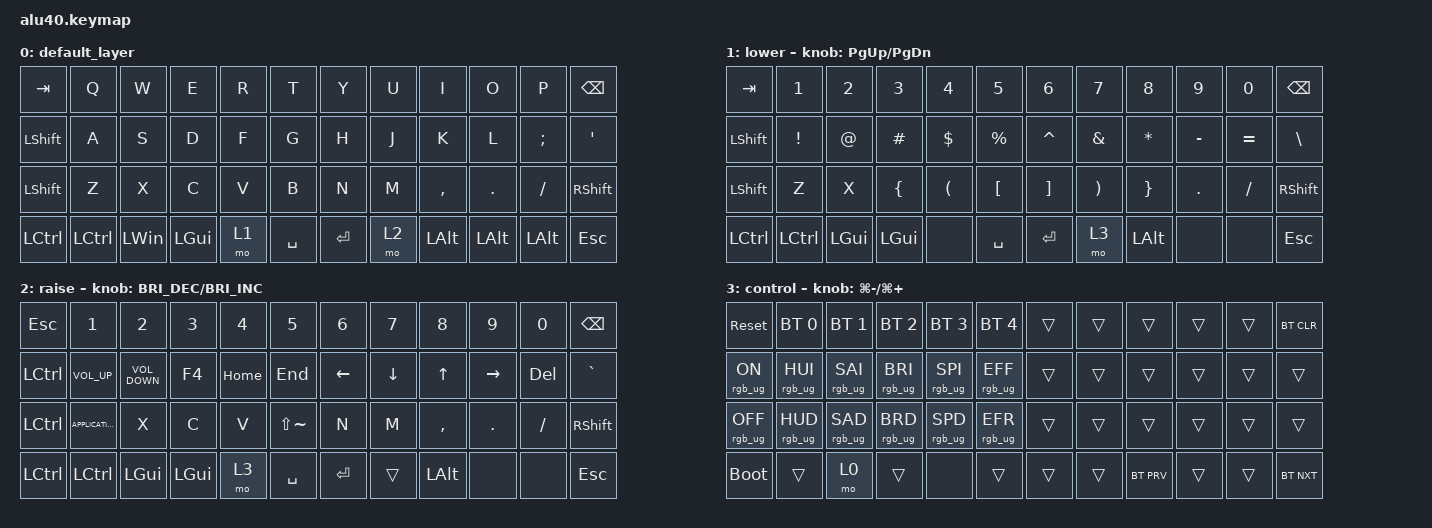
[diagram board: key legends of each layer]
/*
 * Copyright (c) 2022 The ZMK Contributors
 *
 * SPDX-License-Identifier: MIT
 */

#include <behaviors.dtsi>
#include <dt-bindings/zmk/bt.h>
#include <dt-bindings/zmk/keys.h>
#include <dt-bindings/zmk/rgb.h>

/ {
    keymap {
        compatible = "zmk,keymap";

        default_layer {
            // -----------------------------------------------------------------------------------------
            // | ESC/~ |  Q   |  W   |  E   |  R   |  T   |   Y   |  U    |  I   |  O   |   P   | BSPC  |
            // | TAB   |  A   |  S   |  D   |  F   |  G   |   H   |  J    |  K   |  L   |   ;   |  '    |
            // | SHIFT |  Z   |  X   |  C   |  V   |  B   |   N   |  M    |  ,   |  .   |   /   |RET/SFT|
            // | PLAY  | LCTL | LALT | LGUI | LOWR |     SPACE    |  RAIS | LARW | UARW | DARW  |  RARW |

            bindings = <
&kp TAB         &kp Q      &kp W         &kp E     &kp R  &kp T      &kp Y       &kp U  &kp I         &kp O         &kp P         &kp BSPC
&kp LEFT_SHIFT  &kp A      &kp S         &kp D     &kp F  &kp G      &kp H       &kp J  &kp K         &kp L         &kp SEMI      &kp SQT
&kp LSHFT       &kp Z      &kp X         &kp C     &kp V  &kp B      &kp N       &kp M  &kp COMMA     &kp DOT       &kp FSLH      &kp RIGHT_SHIFT
&kp LCTRL       &kp LCTRL  &kp LEFT_WIN  &kp LGUI  &mo 1  &kp SPACE  &kp RETURN  &mo 2  &kp LEFT_ALT  &kp LEFT_ALT  &kp LEFT_ALT  &kp ESC
            >;
        };

        lower {
            bindings = <
&kp TAB           &kp N1            &kp N2        &kp N3          &kp N4                &kp N5            &kp N6             &kp N7                 &kp N8           &kp N9      &kp N0     &kp BACKSPACE
&kp LSHFT         &kp EXCL          &kp AT        &kp HASH        &kp DLLR              &kp PERCENT       &kp CARET          &kp AMPERSAND          &kp ASTERISK     &kp MINUS   &kp EQUAL  &kp BACKSLASH
&kp LSHFT         &kp Z             &kp X         &kp LEFT_BRACE  &kp LEFT_PARENTHESIS  &kp LEFT_BRACKET  &kp RIGHT_BRACKET  &kp RIGHT_PARENTHESIS  &kp RIGHT_BRACE  &kp PERIOD  &kp SLASH  &kp RIGHT_SHIFT
&kp LEFT_CONTROL  &kp LEFT_CONTROL  &kp LEFT_GUI  &kp LEFT_GUI    &none                 &kp SPACE         &kp RETURN         &mo 3                  &kp LEFT_ALT     &none       &none      &kp ESCAPE
            >;

            sensor-bindings = <&inc_dec_kp PG_UP PG_DN>;
        };

        raise {
            bindings = <
&kp ESCAPE  &kp N1             &kp N2             &kp N3    &kp N4    &kp N5         &kp N6      &kp N7    &kp N8     &kp N9     &kp N0    &kp BSPC
&kp LCTRL   &kp C_VOLUME_UP    &kp C_VOLUME_DOWN  &kp F4    &kp HOME  &kp END        &kp LEFT    &kp DOWN  &kp UP     &kp RIGHT  &kp DEL   &kp GRAVE
&kp LCTRL   &kp K_APPLICATION  &kp X              &kp C     &kp V     &kp LS(TILDE)  &kp N       &kp M     &kp COMMA  &kp DOT    &kp FSLH  &kp RSHFT
&kp LCTRL   &kp LCTRL          &kp LGUI           &kp LGUI  &mo 3     &kp SPACE      &kp RETURN  &trans    &kp LALT   &none      &none     &kp ESCAPE
            >;

            sensor-bindings = <&inc_dec_kp C_BRI_DEC C_BRI_INC>;
        };

        control {
            bindings = <
&sys_reset       &bt BT_SEL 0     &bt BT_SEL 1     &bt BT_SEL 2     &bt BT_SEL 3     &bt BT_SEL 4     &trans  &trans  &trans      &trans  &trans  &bt BT_CLR
&rgb_ug RGB_ON   &rgb_ug RGB_HUI  &rgb_ug RGB_SAI  &rgb_ug RGB_BRI  &rgb_ug RGB_SPI  &rgb_ug RGB_EFF  &trans  &trans  &trans      &trans  &trans  &trans
&rgb_ug RGB_OFF  &rgb_ug RGB_HUD  &rgb_ug RGB_SAD  &rgb_ug RGB_BRD  &rgb_ug RGB_SPD  &rgb_ug RGB_EFR  &trans  &trans  &trans      &trans  &trans  &trans
&bootloader      &trans           &mo 0            &trans           &none            &trans           &trans  &trans  &bt BT_PRV  &trans  &trans  &bt BT_NXT
            >;

            sensor-bindings = <&inc_dec_kp LG(MINUS) LG(PLUS)>;
        };
    };
};
